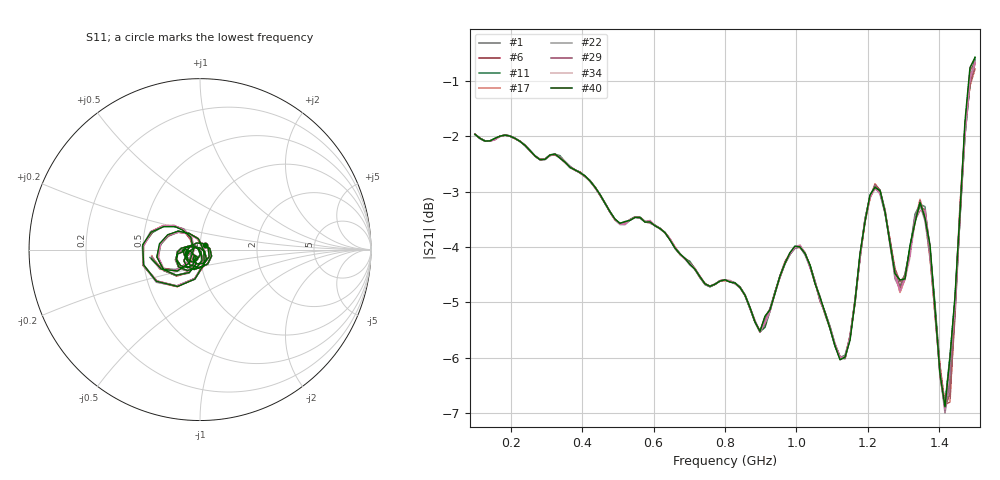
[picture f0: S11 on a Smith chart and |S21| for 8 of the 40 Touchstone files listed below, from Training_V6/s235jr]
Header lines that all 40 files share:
! NanoVNA-App
! Start: 100MHz Stop: 1,5GHz Points: 101
! S-Parameter data: F S11 S21 S12 S22
# Hz S RI R 50
!  Frequency  S11_Real  S11_Imag  S21_Real  S21_Imag  S12_Real  S12_Imag  S22_Real  S22_Imag
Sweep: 100 MHz to 1.5 GHz
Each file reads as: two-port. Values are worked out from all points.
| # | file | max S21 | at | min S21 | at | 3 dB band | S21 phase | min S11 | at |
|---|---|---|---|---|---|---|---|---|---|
| 1 | s235jr (801).s2p | -0.61 dB | 1.5 GHz | -6.9 dB | 1.416 GHz | 100 MHz-590 MHz | 125 deg at 800 MHz | -40.4 dB | 660 MHz |
| 2 | s235jr (802).s2p | -0.57 dB | 1.5 GHz | -7.0 dB | 1.416 GHz | 100 MHz-492 MHz | 125 deg at 800 MHz | -40.1 dB | 660 MHz |
| 3 | s235jr (803).s2p | -0.67 dB | 1.5 GHz | -7.0 dB | 1.416 GHz | 100 MHz-618 MHz | 125 deg at 800 MHz | -40.6 dB | 660 MHz |
| 4 | s235jr (804).s2p | -0.65 dB | 1.5 GHz | -6.8 dB | 1.416 GHz | 100 MHz-604 MHz | 125 deg at 800 MHz | -40.2 dB | 660 MHz |
| 5 | s235jr (805).s2p | -0.64 dB | 1.5 GHz | -6.9 dB | 1.416 GHz | 100 MHz-604 MHz | 126 deg at 800 MHz | -40.4 dB | 660 MHz |
| 6 | s235jr (806).s2p | -0.67 dB | 1.5 GHz | -6.9 dB | 1.416 GHz | 100 MHz-618 MHz | 125 deg at 800 MHz | -40.4 dB | 660 MHz |
| 7 | s235jr (807).s2p | -0.63 dB | 1.5 GHz | -6.9 dB | 1.416 GHz | 100 MHz-604 MHz | 126 deg at 800 MHz | -40.6 dB | 660 MHz |
| 8 | s235jr (808).s2p | -0.56 dB | 1.5 GHz | -6.8 dB | 1.416 GHz | 100 MHz-492 MHz | 125 deg at 800 MHz | -40.8 dB | 660 MHz |
| 9 | s235jr (809).s2p | -0.69 dB | 1.5 GHz | -7.0 dB | 1.416 GHz | 100 MHz-618 MHz | 125 deg at 800 MHz | -40.6 dB | 660 MHz |
| 10 | s235jr (810).s2p | -0.65 dB | 1.5 GHz | -6.8 dB | 1.416 GHz | 100 MHz-604 MHz | 125 deg at 800 MHz | -40.0 dB | 660 MHz |
| 11 | s235jr (811).s2p | -0.57 dB | 1.5 GHz | -6.8 dB | 1.416 GHz | 100 MHz-492 MHz | 126 deg at 800 MHz | -40.7 dB | 660 MHz |
| 12 | s235jr (812).s2p | -0.59 dB | 1.5 GHz | -6.8 dB | 1.416 GHz | 100 MHz-590 MHz | 125 deg at 800 MHz | -39.8 dB | 660 MHz |
| 13 | s235jr (813).s2p | -0.52 dB | 1.5 GHz | -7.0 dB | 1.416 GHz | 100 MHz-492 MHz | 125 deg at 800 MHz | -40.4 dB | 660 MHz |
| 14 | s235jr (814).s2p | -0.53 dB | 1.5 GHz | -6.7 dB | 1.416 GHz | 100 MHz-492 MHz | 126 deg at 800 MHz | -40.5 dB | 660 MHz |
| 15 | s235jr (815).s2p | -0.64 dB | 1.5 GHz | -7.0 dB | 1.416 GHz | 100 MHz-604 MHz | 125 deg at 800 MHz | -39.9 dB | 660 MHz |
| 16 | s235jr (816).s2p | -0.68 dB | 1.5 GHz | -7.0 dB | 1.416 GHz | 100 MHz-618 MHz | 125 deg at 800 MHz | -41.0 dB | 660 MHz |
| 17 | s235jr (817).s2p | -0.79 dB | 1.5 GHz | -6.8 dB | 1.416 GHz | 100 MHz-632 MHz | 126 deg at 800 MHz | -40.8 dB | 660 MHz |
| 18 | s235jr (818).s2p | -0.56 dB | 1.5 GHz | -7.0 dB | 1.416 GHz | 100 MHz-492 MHz | 125 deg at 800 MHz | -40.0 dB | 660 MHz |
| 19 | s235jr (819).s2p | -0.76 dB | 1.5 GHz | -7.0 dB | 1.416 GHz | 100 MHz-632 MHz | 126 deg at 800 MHz | -40.6 dB | 660 MHz |
| 20 | s235jr (820).s2p | -0.67 dB | 1.5 GHz | -6.9 dB | 1.416 GHz | 100 MHz-618 MHz | 126 deg at 800 MHz | -39.8 dB | 660 MHz |
| 21 | s235jr (821).s2p | -0.78 dB | 1.5 GHz | -7.0 dB | 1.416 GHz | 100 MHz-632 MHz | 125 deg at 800 MHz | -39.9 dB | 660 MHz |
| 22 | s235jr (822).s2p | -0.64 dB | 1.5 GHz | -7.0 dB | 1.416 GHz | 100 MHz-604 MHz | 125 deg at 800 MHz | -40.5 dB | 660 MHz |
| 23 | s235jr (823).s2p | -0.51 dB | 1.5 GHz | -6.9 dB | 1.416 GHz | 100 MHz-492 MHz | 125 deg at 800 MHz | -40.7 dB | 660 MHz |
| 24 | s235jr (824).s2p | -0.57 dB | 1.5 GHz | -7.1 dB | 1.416 GHz | 100 MHz-492 MHz | 126 deg at 800 MHz | -40.6 dB | 660 MHz |
| 25 | s235jr (825).s2p | -0.65 dB | 1.5 GHz | -6.8 dB | 1.416 GHz | 100 MHz-604 MHz | 125 deg at 800 MHz | -39.8 dB | 660 MHz |
| 26 | s235jr (826).s2p | -0.66 dB | 1.5 GHz | -6.7 dB | 1.416 GHz | 100 MHz-604 MHz | 126 deg at 800 MHz | -40.0 dB | 660 MHz |
| 27 | s235jr (827).s2p | -0.73 dB | 1.5 GHz | -6.9 dB | 1.416 GHz | 100 MHz-618 MHz | 125 deg at 800 MHz | -39.9 dB | 660 MHz |
| 28 | s235jr (828).s2p | -0.69 dB | 1.5 GHz | -7.0 dB | 1.416 GHz | 100 MHz-618 MHz | 125 deg at 800 MHz | -40.6 dB | 660 MHz |
| 29 | s235jr (829).s2p | -0.69 dB | 1.5 GHz | -6.9 dB | 1.416 GHz | 100 MHz-618 MHz | 125 deg at 800 MHz | -40.6 dB | 660 MHz |
| 30 | s235jr (830).s2p | -0.70 dB | 1.5 GHz | -6.9 dB | 1.416 GHz | 100 MHz-618 MHz | 125 deg at 800 MHz | -40.5 dB | 660 MHz |
| 31 | s235jr (831).s2p | -0.59 dB | 1.5 GHz | -7.0 dB | 1.416 GHz | 100 MHz-590 MHz | 126 deg at 800 MHz | -40.1 dB | 660 MHz |
| 32 | s235jr (832).s2p | -0.49 dB | 1.5 GHz | -7.2 dB | 1.416 GHz | 100 MHz-478 MHz | 125 deg at 800 MHz | -39.8 dB | 660 MHz |
| 33 | s235jr (833).s2p | -0.67 dB | 1.5 GHz | -7.1 dB | 1.416 GHz | 100 MHz-604 MHz | 126 deg at 800 MHz | -40.1 dB | 660 MHz |
| 34 | s235jr (834).s2p | -0.68 dB | 1.5 GHz | -6.9 dB | 1.416 GHz | 100 MHz-618 MHz | 125 deg at 800 MHz | -40.7 dB | 660 MHz |
| 35 | s235jr (835).s2p | -0.56 dB | 1.5 GHz | -6.9 dB | 1.416 GHz | 100 MHz-492 MHz | 125 deg at 800 MHz | -40.2 dB | 660 MHz |
| 36 | s235jr (836).s2p | -0.67 dB | 1.5 GHz | -6.9 dB | 1.416 GHz | 100 MHz-618 MHz | 126 deg at 800 MHz | -40.7 dB | 660 MHz |
| 37 | s235jr (837).s2p | -0.62 dB | 1.5 GHz | -7.1 dB | 1.416 GHz | 100 MHz-590 MHz | 125 deg at 800 MHz | -39.9 dB | 660 MHz |
| 38 | s235jr (838).s2p | -0.72 dB | 1.5 GHz | -7.0 dB | 1.416 GHz | 100 MHz-618 MHz | 126 deg at 800 MHz | -40.2 dB | 660 MHz |
| 39 | s235jr (839).s2p | -0.67 dB | 1.5 GHz | -6.8 dB | 1.416 GHz | 100 MHz-618 MHz | 125 deg at 800 MHz | -39.8 dB | 660 MHz |
| 40 | s235jr (840).s2p | -0.58 dB | 1.5 GHz | -6.9 dB | 1.416 GHz | 100 MHz-590 MHz | 126 deg at 800 MHz | -39.7 dB | 660 MHz |
